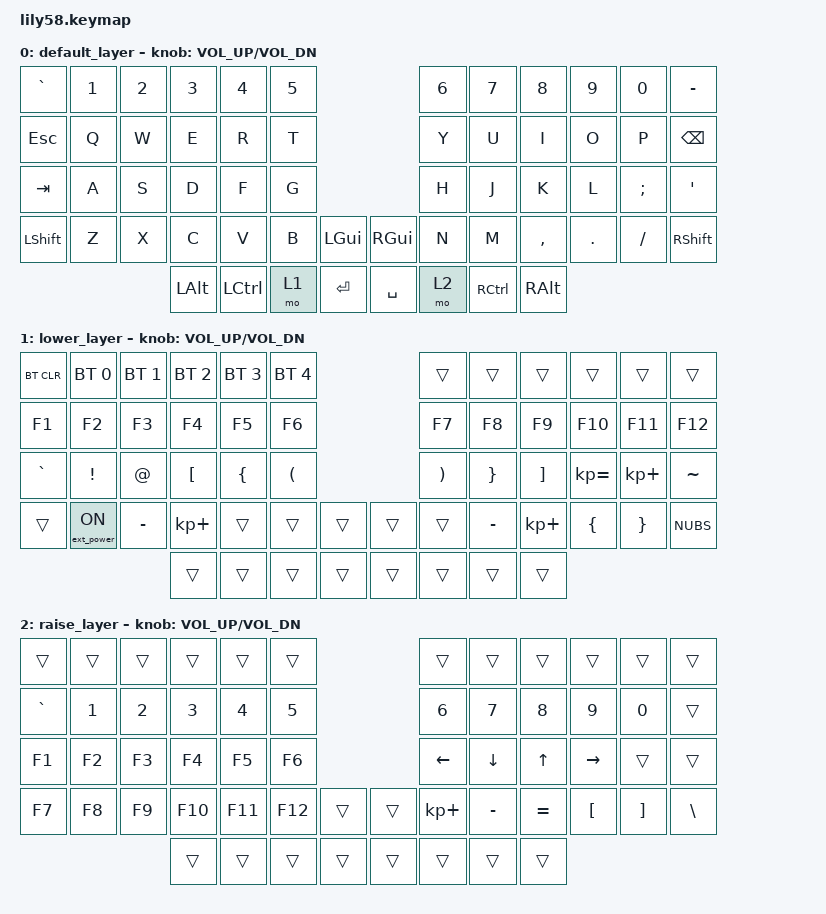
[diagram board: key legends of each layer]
/*
 * Copyright (c) 2020 The ZMK Contributors
 *
 * SPDX-License-Identifier: MIT
 */

#include <behaviors.dtsi>
#include <dt-bindings/zmk/keys.h>
#include <dt-bindings/zmk/bt.h>
#include <dt-bindings/zmk/ext_power.h>

/ {
	keymap {
		compatible = "zmk,keymap";

		default_layer {
// ------------------------------------------------------------------------------------------------------------
// |   `   |  1  |  2  |  3   |  4   |  5   |                   |  6   |  7    |  8    |  9   |   0   |   -   |
// |  ESC  |  Q  |  W  |  E   |  R   |  T   |                   |  Y   |  U    |  I    |  O   |   P   | BSPC  |
// |  TAB  |  A  |  S  |  D   |  F   |  G   |                   |  H   |  J    |  K    |  L   |   ;   |   '   |
// | SHIFT |  Z  |  X  |  C   |  V   |  B   |  LGUI  |  | RGUI  |  N   |  M    |  ,    |  .   |   /   | SHIFT |
//                     | ALT  | CTRL | LOWER|  ENTER |  | SPACE | RAISE| CTRL  | ALT   |
			bindings = <
&kp GRAVE &kp N1 &kp N2 &kp N3   &kp N4    &kp N5                     &kp N6 &kp N7    &kp N8    &kp N9  &kp N0   &kp MINUS
&kp ESC   &kp Q  &kp W  &kp E    &kp R     &kp T                      &kp Y  &kp U     &kp I     &kp O   &kp P    &kp BSPC
&kp TAB   &kp A  &kp S  &kp D    &kp F     &kp G                      &kp H  &kp J     &kp K     &kp L   &kp SEMI &kp SQT
&kp LSHFT &kp Z  &kp X  &kp C    &kp V     &kp B  &kp LGUI &kp RGUI   &kp N  &kp M     &kp COMMA &kp DOT &kp FSLH &kp RSHFT
                        &kp LALT &kp LCTRL &mo 1  &kp RET  &kp SPACE  &mo 2  &kp RCTRL &kp RALT
			>;

			sensor-bindings = <&inc_dec_kp C_VOL_UP C_VOL_DN>;
		};

		lower_layer {
// ------------------------------------------------------------------------------------------------------------
// | BTCLR | BT1 | BT2 |  BT3 |  BT4 |  BT5 |                   |      |       |       |      |       |       |
// |  F1   |  F2 |  F3 |  F4  |  F5  |  F6  |                   |  F7  |  F8   |  F9   |  F10 |  F11  |  F12  |
// |   `   |  !  |  @  | "["  |  {   |  (   |                   |  )   |  }    | "]"   |  =   |   -   |   ~   |
// |       |     |  -  |  +   |      |      |        |  |       |      |  _    |  +    |  {   |   }   |  "\"  |
//                     |      |      |      |        |  |       |      |       |       |
			bindings = <
&bt BT_CLR &bt BT_SEL 0     &bt BT_SEL 1      &bt BT_SEL 2      &bt BT_SEL 3 &bt BT_SEL 4                 &trans    &trans    &trans          &trans    	&trans    	 &trans
&kp F1     &kp F2           &kp F3            &kp F4            &kp F5       &kp F6                       &kp F7    &kp F8    &kp F9          &kp F10   	&kp F11   	 &kp F12
&kp GRAVE  &kp EXCL         &kp AT            &kp LBKT          &kp LBRC     &kp LPAR                     &kp RPAR  &kp RBRC  &kp RBKT        &kp KP_EQUAL  &kp KP_PLUS  &kp TILDE
&trans     &ext_power EP_ON &kp MINUS         &kp KP_PLUS       &trans       &trans    &trans   &trans    &trans    &kp MINUS &kp KP_PLUS     &kp LBRC  	&kp RBRC  	 &kp NUBS
                                              &trans            &trans       &trans    &trans   &trans    &trans    &trans    &trans
			>;

			sensor-bindings = <&inc_dec_kp C_VOL_UP C_VOL_DN>;
		};

		raise_layer {
// ------------------------------------------------------------------------------------------------------------
// |       |     |     |      |      |      |                   |      |       |       |      |       |       |
// |   `   |  1  |  2  |  3   |  4   |  5   |                   |  6   |   7   |   8   |  9   |   0   |       |
// |   F1  |  F2 |  F3 |  F4  |  F5  |  F6  |                   |  <-  |   v   |  ^   |  ->   |       |
// |   F7  |  F8 |  F9 |  F10 |  F11 |  F12 |        |  |       |  +   |   -   |   =   |  [   |   ]   |   \   |
//                     |      |      |      |        |  |       |      |       |       |
			bindings = <
&trans    &trans &trans &trans  &trans  &trans                       &trans      &trans    &trans    &trans    &trans    &trans
&kp GRAVE &kp N1 &kp N2 &kp N3  &kp N4  &kp N5                       &kp N6      &kp N7    &kp N8    &kp N9    &kp N0    &trans
&kp F1    &kp F2 &kp F3 &kp F4  &kp F5  &kp F6                       &kp LEFT  	 &kp DOWN  &kp UP    &kp RIGHT &trans	 &trans
&kp F7    &kp F8 &kp F9 &kp F10 &kp F11 &kp F12   &trans   &trans    &kp KP_PLUS &kp MINUS &kp EQUAL &kp LBKT  &kp RBKT  &kp BSLH
                        &trans  &trans  &trans    &trans   &trans    &trans      &trans    &trans
			>;

			sensor-bindings = <&inc_dec_kp C_VOL_UP C_VOL_DN>;
		};
	};
};
